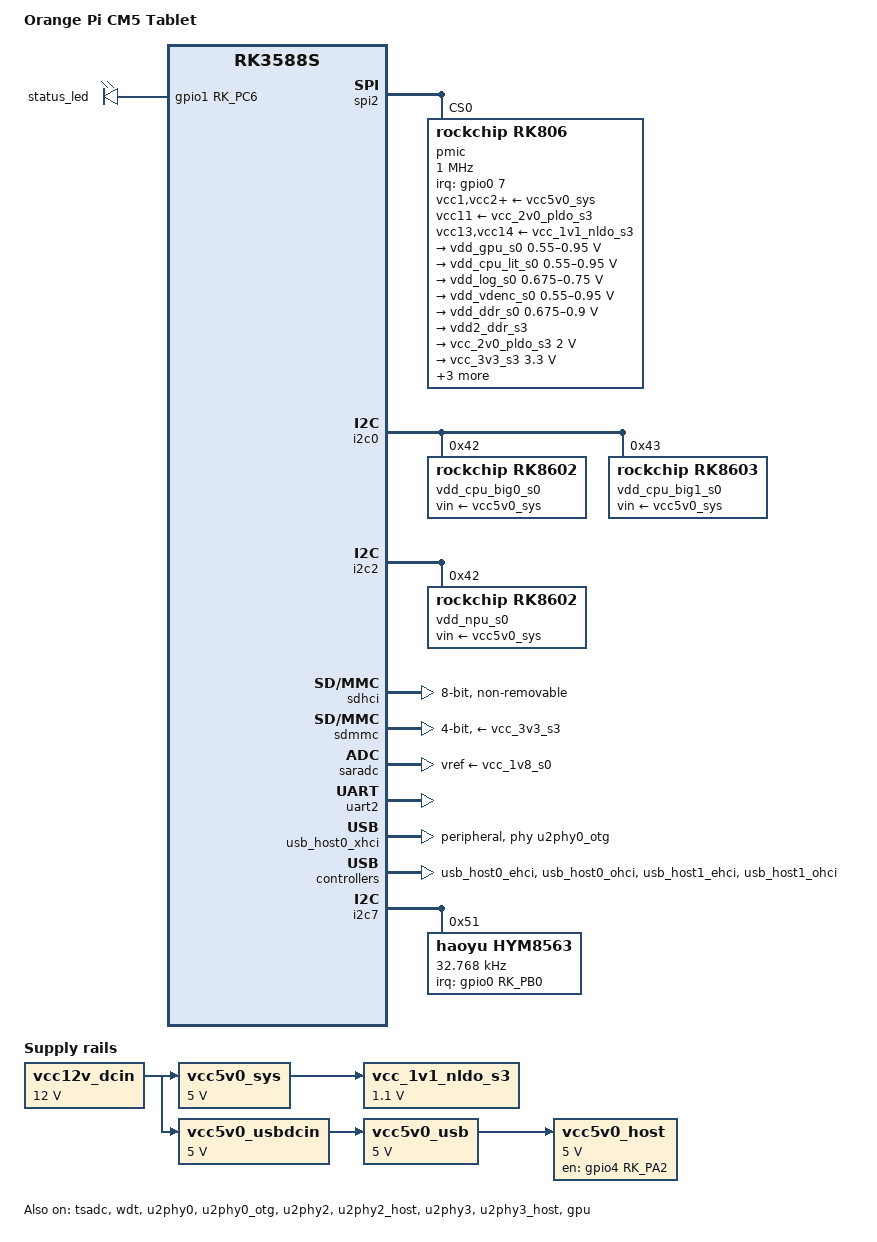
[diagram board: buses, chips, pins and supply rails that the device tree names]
// SPDX-License-Identifier: (GPL-2.0+ OR MIT)
/* Orange Pi CM5 on the tablet carrier, headless bring-up.
 * Wiring and supplies: Orange Pi Android 13 CM5 tablet DTS.
 * RK806 binding representation: this tree's RK3588 board support.
 * HDMI and radio wiring are provided by the feature includes below.
 * LCD, cameras, onboard audio, PCIe and charging remain disabled.
 */
/dts-v1/;
#include <dt-bindings/gpio/gpio.h>
#include <dt-bindings/pinctrl/rockchip.h>
#include <dt-bindings/interrupt-controller/irq.h>
#include <dt-bindings/soc/rockchip,vop2.h>
#include "rk3588s.dtsi"

/ {
    model = "Orange Pi CM5 Tablet";
    compatible = "xunlong,orangepi-cm5-tablet", "rockchip,rk3588s";
    aliases {
        mmc0 = &sdhci;
        mmc1 = &sdmmc;
        mmc2 = &sdio;
    };
    chosen { stdout-path = "serial2:1500000n8"; };

	vcc12v_dcin: vcc12v-dcin {
		compatible = "regulator-fixed";
		regulator-name = "vcc12v_dcin";
		regulator-always-on;
		regulator-boot-on;
		regulator-min-microvolt = <12000000>;
		regulator-max-microvolt = <12000000>;
	};

	vcc5v0_sys: vcc5v0-sys {
		compatible = "regulator-fixed";
		regulator-name = "vcc5v0_sys";
		regulator-always-on;
		regulator-boot-on;
		regulator-min-microvolt = <5000000>;
		regulator-max-microvolt = <5000000>;
		vin-supply = <&vcc12v_dcin>;
	};

	vcc5v0_usbdcin: vcc5v0-usbdcin {
		compatible = "regulator-fixed";
		regulator-name = "vcc5v0_usbdcin";
		regulator-always-on;
		regulator-boot-on;
		regulator-min-microvolt = <5000000>;
		regulator-max-microvolt = <5000000>;
		vin-supply = <&vcc12v_dcin>;
	};

	vcc5v0_usb: vcc5v0-usb {
		compatible = "regulator-fixed";
		regulator-name = "vcc5v0_usb";
		regulator-always-on;
		regulator-boot-on;
		regulator-min-microvolt = <5000000>;
		regulator-max-microvolt = <5000000>;
		vin-supply = <&vcc5v0_usbdcin>;
	};

	vcc5v0_host: vcc5v0-host {
		compatible = "regulator-fixed";
		regulator-name = "vcc5v0_host";
		regulator-boot-on;
		regulator-always-on;
		enable-active-high;
		gpio = <&gpio4 RK_PA2 GPIO_ACTIVE_HIGH>;
		regulator-min-microvolt = <5000000>;
		regulator-max-microvolt = <5000000>;
		vin-supply = <&vcc5v0_usb>;
		pinctrl-names = "default";
		pinctrl-0 = <&vcc5v0_host_en>;
	};

	leds: gpio-leds {
		compatible = "gpio-leds";
		pinctrl-names = "default";
		pinctrl-0 =<&led_gpio>;
		status = "okay";

		led@1 {
			gpios = <&gpio1 RK_PC6 GPIO_ACTIVE_HIGH>;
			label = "status_led";
			linux,default-trigger = "heartbeat";
			linux,default-trigger-delay-ms = <0>;
		};
	};
};

&spi2 {
	status = "okay";
	assigned-clocks = <&cru CLK_SPI2>;
	assigned-clock-rates = <200000000>;
	pinctrl-names = "default";
	pinctrl-0 = <&spi2m2_cs0 &spi2m2_pins>;
	num-cs = <1>;

	pmic@0 {
		compatible = "rockchip,rk806";
		reg = <0x0>;
		interrupt-parent = <&gpio0>;
		interrupts = <7 IRQ_TYPE_LEVEL_LOW>;
		pinctrl-names = "default";
		pinctrl-0 = <&pmic_pins>, <&rk806_dvs1_null>,
				<&rk806_dvs2_null>, <&rk806_dvs3_null>;
		spi-max-frequency = <1000000>;
		system-power-controller;

		vcc1-supply = <&vcc5v0_sys>;
		vcc2-supply = <&vcc5v0_sys>;
		vcc3-supply = <&vcc5v0_sys>;
		vcc4-supply = <&vcc5v0_sys>;
		vcc5-supply = <&vcc5v0_sys>;
		vcc6-supply = <&vcc5v0_sys>;
		vcc7-supply = <&vcc5v0_sys>;
		vcc8-supply = <&vcc5v0_sys>;
		vcc9-supply = <&vcc5v0_sys>;
		vcc10-supply = <&vcc5v0_sys>;
		vcc11-supply = <&vcc_2v0_pldo_s3>;
		vcc12-supply = <&vcc5v0_sys>;
		vcc13-supply = <&vcc_1v1_nldo_s3>;
		vcc14-supply = <&vcc_1v1_nldo_s3>;
		vcca-supply = <&vcc5v0_sys>;

		gpio-controller;
		#gpio-cells = <2>;

		rk806_dvs1_null: dvs1-null-pins {
			pins = "gpio_pwrctrl1";
			function = "pin_fun0";
		};

		rk806_dvs2_null: dvs2-null-pins {
			pins = "gpio_pwrctrl2";
			function = "pin_fun0";
		};

		rk806_dvs3_null: dvs3-null-pins {
			pins = "gpio_pwrctrl3";
			function = "pin_fun0";
		};

		regulators {
			vdd_gpu_s0: dcdc-reg1 {
				regulator-name = "vdd_gpu_s0";
				regulator-boot-on;
				regulator-min-microvolt = <550000>;
				regulator-max-microvolt = <950000>;
				regulator-ramp-delay = <12500>;
				regulator-enable-ramp-delay = <400>;

				regulator-state-mem {
					regulator-off-in-suspend;
				};
			};

			vdd_cpu_lit_s0: dcdc-reg2 {
				regulator-name = "vdd_cpu_lit_s0";
				regulator-always-on;
				regulator-boot-on;
				regulator-min-microvolt = <550000>;
				regulator-max-microvolt = <950000>;
				regulator-ramp-delay = <12500>;

				regulator-state-mem {
					regulator-off-in-suspend;
				};
			};

			vdd_log_s0: dcdc-reg3 {
				regulator-name = "vdd_log_s0";
				regulator-always-on;
				regulator-boot-on;
				regulator-min-microvolt = <675000>;
				regulator-max-microvolt = <750000>;
				regulator-ramp-delay = <12500>;

				regulator-state-mem {
					regulator-off-in-suspend;
					regulator-suspend-microvolt = <750000>;
				};
			};

			vdd_vdenc_s0: dcdc-reg4 {
				regulator-name = "vdd_vdenc_s0";
				regulator-always-on;
				regulator-boot-on;
				regulator-min-microvolt = <550000>;
				regulator-max-microvolt = <950000>;
				regulator-ramp-delay = <12500>;

				regulator-state-mem {
					regulator-off-in-suspend;
				};
			};

			vdd_ddr_s0: dcdc-reg5 {
				regulator-name = "vdd_ddr_s0";
				regulator-always-on;
				regulator-boot-on;
				regulator-min-microvolt = <675000>;
				regulator-max-microvolt = <900000>;
				regulator-ramp-delay = <12500>;

				regulator-state-mem {
					regulator-off-in-suspend;
					regulator-suspend-microvolt = <850000>;
				};
			};

			vdd2_ddr_s3: dcdc-reg6 {
				regulator-name = "vdd2_ddr_s3";
				regulator-always-on;
				regulator-boot-on;

				regulator-state-mem {
					regulator-on-in-suspend;
				};
			};

			vcc_2v0_pldo_s3: dcdc-reg7 {
				regulator-name = "vdd_2v0_pldo_s3";
				regulator-always-on;
				regulator-boot-on;
				regulator-min-microvolt = <2000000>;
				regulator-max-microvolt = <2000000>;
				regulator-ramp-delay = <12500>;

				regulator-state-mem {
					regulator-on-in-suspend;
					regulator-suspend-microvolt = <2000000>;
				};
			};

			vcc_3v3_s3: dcdc-reg8 {
				regulator-name = "vcc_3v3_s3";
				regulator-always-on;
				regulator-boot-on;
				regulator-min-microvolt = <3300000>;
				regulator-max-microvolt = <3300000>;

				regulator-state-mem {
					regulator-on-in-suspend;
					regulator-suspend-microvolt = <3300000>;
				};
			};

			vddq_ddr_s0: dcdc-reg9 {
				regulator-name = "vddq_ddr_s0";
				regulator-always-on;
				regulator-boot-on;

				regulator-state-mem {
					regulator-off-in-suspend;
				};
			};

			vcc_1v8_s3: dcdc-reg10 {
				regulator-name = "vcc_1v8_s3";
				regulator-always-on;
				regulator-boot-on;
				regulator-min-microvolt = <1800000>;
				regulator-max-microvolt = <1800000>;

				regulator-state-mem {
					regulator-on-in-suspend;
					regulator-suspend-microvolt = <1800000>;
				};
			};

			avcc_1v8_s0: pldo-reg1 {
				regulator-name = "avcc_1v8_s0";
				regulator-always-on;
				regulator-boot-on;
				regulator-min-microvolt = <1800000>;
				regulator-max-microvolt = <1800000>;

				regulator-state-mem {
					regulator-off-in-suspend;
				};
			};

			vcc_1v8_s0: pldo-reg2 {
				regulator-name = "vcc_1v8_s0";
				regulator-always-on;
				regulator-boot-on;
				regulator-min-microvolt = <1800000>;
				regulator-max-microvolt = <1800000>;

				regulator-state-mem {
					regulator-off-in-suspend;
					regulator-suspend-microvolt = <1800000>;
				};
			};

			avdd_1v2_s0: pldo-reg3 {
				regulator-name = "avdd_1v2_s0";
				regulator-always-on;
				regulator-boot-on;
				regulator-min-microvolt = <1200000>;
				regulator-max-microvolt = <1200000>;

				regulator-state-mem {
					regulator-off-in-suspend;
				};
			};

			vcc_3v3_s0: pldo-reg4 {
				regulator-name = "vcc_3v3_s0";
				regulator-always-on;
				regulator-boot-on;
				regulator-min-microvolt = <3300000>;
				regulator-max-microvolt = <3300000>;
				regulator-ramp-delay = <12500>;

				regulator-state-mem {
					regulator-off-in-suspend;
				};
			};

			vccio_sd_s0: pldo-reg5 {
				regulator-name = "vccio_sd_s0";
				regulator-always-on;
				regulator-boot-on;
				regulator-min-microvolt = <1800000>;
				regulator-max-microvolt = <3300000>;
				regulator-ramp-delay = <12500>;

				regulator-state-mem {
					regulator-off-in-suspend;
				};
			};

			pldo6_s3: pldo-reg6 {
				regulator-name = "pldo6_s3";
				regulator-always-on;
				regulator-boot-on;
				regulator-min-microvolt = <1800000>;
				regulator-max-microvolt = <1800000>;

				regulator-state-mem {
					regulator-on-in-suspend;
					regulator-suspend-microvolt = <1800000>;
				};
			};

			vdd_0v75_s3: nldo-reg1 {
				regulator-name = "vdd_0v75_s3";
				regulator-always-on;
				regulator-boot-on;
				regulator-min-microvolt = <750000>;
				regulator-max-microvolt = <750000>;

				regulator-state-mem {
					regulator-on-in-suspend;
					regulator-suspend-microvolt = <750000>;
				};
			};

			vdd_ddr_pll_s0: nldo-reg2 {
				regulator-name = "vdd_ddr_pll_s0";
				regulator-always-on;
				regulator-boot-on;
				regulator-min-microvolt = <850000>;
				regulator-max-microvolt = <850000>;

				regulator-state-mem {
					regulator-off-in-suspend;
					regulator-suspend-microvolt = <850000>;
				};
			};

			avdd_0v75_s0: nldo-reg3 {
				regulator-name = "avdd_0v75_s0";
				regulator-always-on;
				regulator-boot-on;
				regulator-min-microvolt = <837500>;
				regulator-max-microvolt = <837500>;

				regulator-state-mem {
					regulator-off-in-suspend;
				};
			};

			vdd_0v85_s0: nldo-reg4 {
				regulator-name = "vdd_0v85_s0";
				regulator-always-on;
				regulator-boot-on;
				regulator-min-microvolt = <850000>;
				regulator-max-microvolt = <850000>;

				regulator-state-mem {
					regulator-off-in-suspend;
				};
			};

			vdd_0v75_s0: nldo-reg5 {
				regulator-name = "vdd_0v75_s0";
				regulator-always-on;
				regulator-boot-on;
				regulator-min-microvolt = <750000>;
				regulator-max-microvolt = <750000>;

				regulator-state-mem {
					regulator-off-in-suspend;
				};
			};
		};
	};
};

&i2c0 {
	pinctrl-names = "default";
	pinctrl-0 = <&i2c0m2_xfer>;
	status = "okay";

	vdd_cpu_big0_s0: regulator@42 {
		compatible = "rockchip,rk8602";
		reg = <0x42>;
		fcs,suspend-voltage-selector = <1>;
		regulator-name = "vdd_cpu_big0_s0";
		regulator-always-on;
		regulator-boot-on;
		regulator-min-microvolt = <550000>;
		regulator-max-microvolt = <1050000>;
		regulator-ramp-delay = <2300>;
		vin-supply = <&vcc5v0_sys>;

		regulator-state-mem {
			regulator-off-in-suspend;
		};
	};

	vdd_cpu_big1_s0: regulator@43 {
		compatible = "rockchip,rk8603", "rockchip,rk8602";
		reg = <0x43>;
		fcs,suspend-voltage-selector = <1>;
		regulator-name = "vdd_cpu_big1_s0";
		regulator-always-on;
		regulator-boot-on;
		regulator-min-microvolt = <550000>;
		regulator-max-microvolt = <1050000>;
		regulator-ramp-delay = <2300>;
		vin-supply = <&vcc5v0_sys>;

		regulator-state-mem {
			regulator-off-in-suspend;
		};
	};
};

&i2c2 {
	status = "okay";

	vdd_npu_s0: regulator@42 {
		compatible = "rockchip,rk8602";
		reg = <0x42>;
		fcs,suspend-voltage-selector = <1>;
		regulator-name = "vdd_npu_s0";
		regulator-always-on;
		regulator-boot-on;
		regulator-min-microvolt = <550000>;
		regulator-max-microvolt = <950000>;
		regulator-ramp-delay = <2300>;
		vin-supply = <&vcc5v0_sys>;

		regulator-state-mem {
			regulator-off-in-suspend;
		};
	};
};

&cpu_l0 {
	cpu-supply = <&vdd_cpu_lit_s0>;
};

&cpu_l1 {
	cpu-supply = <&vdd_cpu_lit_s0>;
};

&cpu_l2 {
	cpu-supply = <&vdd_cpu_lit_s0>;
};

&cpu_l3 {
	cpu-supply = <&vdd_cpu_lit_s0>;
};

&cpu_b0 {
	cpu-supply = <&vdd_cpu_big0_s0>;
};

&cpu_b1 {
	cpu-supply = <&vdd_cpu_big0_s0>;
};

&cpu_b2 {
	cpu-supply = <&vdd_cpu_big1_s0>;
};

&cpu_b3 {
	cpu-supply = <&vdd_cpu_big1_s0>;
};

&sdhci {
	bus-width = <8>;
	no-sdio;
	no-sd;
	non-removable;
	max-frequency = <200000000>;
	mmc-hs400-1_8v;
	mmc-hs400-enhanced-strobe;
	status = "okay";
};

&sdmmc {
	max-frequency = <150000000>;
	no-sdio;
	no-mmc;
	bus-width = <4>;
	cap-mmc-highspeed;
	cap-sd-highspeed;
	disable-wp;
	sd-uhs-sdr104;
	vmmc-supply = <&vcc_3v3_s3>;
	vqmmc-supply = <&vccio_sd_s0>;
	status = "okay";
};

&saradc {
	status = "okay";
	vref-supply = <&vcc_1v8_s0>;
};

&tsadc {
	status = "okay";
};

&uart2 {
	pinctrl-0 = <&uart2m0_xfer>;
	status = "okay";
};

&wdt {
	status = "okay";
};

&pinctrl {
    usb {
        vcc5v0_host_en: vcc5v0-host-en {
            rockchip,pins = <4 RK_PA2 RK_FUNC_GPIO &pcfg_pull_none>;
        };
    };
    leds {
        led_gpio: led-gpio {
            rockchip,pins = <1 RK_PC6 RK_FUNC_GPIO &pcfg_pull_none>;
        };
    };
};
&u2phy0 { status = "okay"; };
&u2phy0_otg { status = "okay"; };
/* Force the USB-C data port to device mode for ADB. Do not source VBUS. */
&usb_host0_xhci {
    dr_mode = "peripheral";
    maximum-speed = "high-speed";
    phys = <&u2phy0_otg>;
    phy-names = "usb2-phy";
    status = "okay";
};
&u2phy2 { status = "okay"; };
&u2phy2_host { phy-supply = <&vcc5v0_host>; status = "okay"; };
&u2phy3 { status = "okay"; };
&u2phy3_host { phy-supply = <&vcc5v0_host>; status = "okay"; };
&usb_host0_ehci { status = "okay"; };
&usb_host0_ohci { status = "okay"; };
&usb_host1_ehci { status = "okay"; };
&usb_host1_ohci { status = "okay"; };

&pmic_pins { rockchip,pins = <0 RK_PA7 RK_FUNC_GPIO &pcfg_pull_up>; };

/* GPU rendering; physical display routing is configured below. */
&gpu { mali-supply = <&vdd_gpu_s0>; status = "okay"; };

/* CM5 has a separate NLDO input rail. DDR voltage remains firmware-selected. */
/ {
    vcc_1v1_nldo_s3: vcc-1v1-nldo-s3 {
        compatible = "regulator-fixed";
        regulator-name = "vcc_1v1_nldo_s3";
        regulator-always-on;
        regulator-boot-on;
        regulator-min-microvolt = <1100000>;
        regulator-max-microvolt = <1100000>;
        vin-supply = <&vcc5v0_sys>;
    };
};

/* The tablet RTC provides the radios' shared 32 kHz clock. */
&i2c7 {
    status = "okay";
    pinctrl-names = "default";
    pinctrl-0 = <&i2c7m3_xfer>;
    hym8563: rtc@51 {
        compatible = "haoyu,hym8563";
        reg = <0x51>;
        #clock-cells = <0>;
        clock-frequency = <32768>;
        clock-output-names = "hym8563";
        pinctrl-names = "default";
        pinctrl-0 = <&hym8563_int>;
        interrupt-parent = <&gpio0>;
        interrupts = <RK_PB0 IRQ_TYPE_LEVEL_LOW>;
    };
};

&pinctrl {
    hym8563 {
        hym8563_int: hym8563-int {
            rockchip,pins = <0 RK_PB0 RK_FUNC_GPIO &pcfg_pull_up>;
        };
    };
};

/*
 * Optional CM5 HDMI routing.
 * Kept separate from radio and base-board wiring.
 */
// CM5_HDMI_INCLUDE

/*
 * Optional CM5 AP6256 SDIO Wi-Fi wiring.
 * Uses the RTC clock declared by the base board.
 */
// CM5_WIFI_INCLUDE

/*
 * Optional CM5 AP6256 UART Bluetooth wiring.
 * Uses the RTC clock declared by the base board.
 */
#include "rk3588s-orangepi-cm5-tablet-bluetooth.dtsi"
